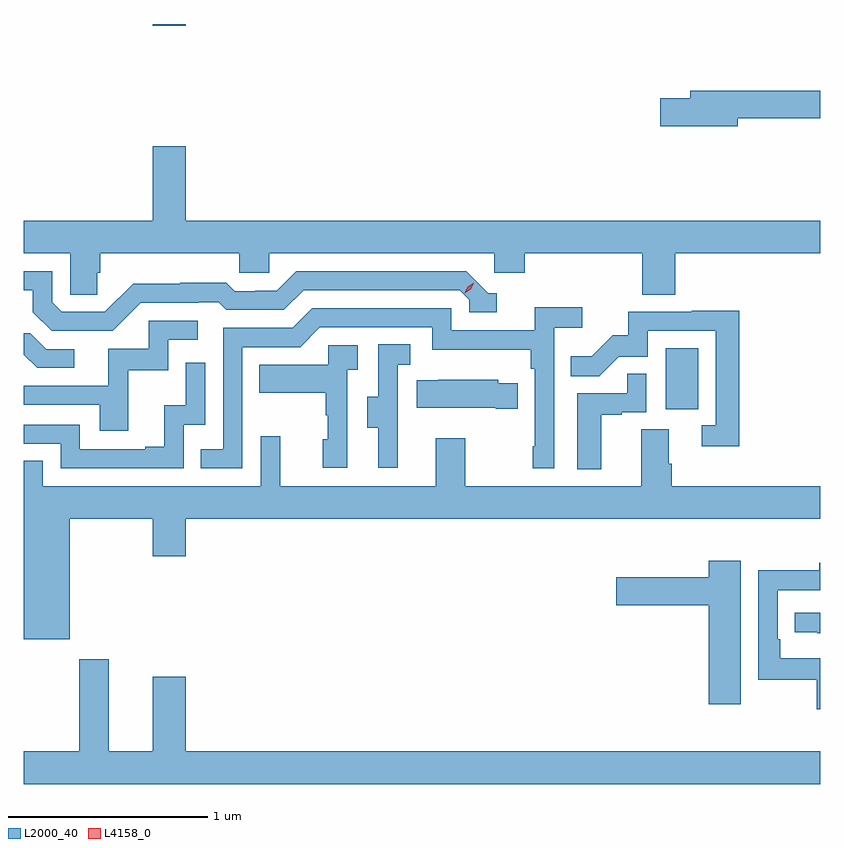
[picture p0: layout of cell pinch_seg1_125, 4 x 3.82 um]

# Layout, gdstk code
import gdstk
lib = gdstk.Library(unit=1e-6, precision=1e-09)
def R(c, l, rs):  # rectangles x0, y0, x1, y1
    for r in rs: c.add(gdstk.rectangle(r[:2], r[2:], *l))
def P(c, l, *ps):  # polygons
    for p in ps: c.add(gdstk.Polygon(p, *l))
L2000_40 = (2000, 40)
L4158_0 = (4158, 0)

pinch_seg1_125 = lib.new_cell('pinch_seg1_125')
R(pinch_seg1_125, L2000_40, [(1030.718,545.622,1030.882,545.929), (1028.144,547.548,1028.308,547.556)])
P(pinch_seg1_125, L2000_40, [(1031.08,547.084),(1031.495,547.084),(1031.495,547.22),(1030.841,547.22),(1030.841,547.184),(1030.692,547.184),(1030.692,547.042),(1031.08,547.042)],
  [(1027.865,546.306),(1027.88,546.306),(1027.88,546.404),(1028.577,546.404),(1028.577,546.306),(1028.727,546.306),(1028.727,546.404),(1029.858,546.404),(1029.858,546.306),(1030.01,546.306),(1030.01,546.404),(1030.601,546.404),(1030.601,546.196),(1030.766,546.196),(1030.766,546.404),(1031.495,546.404),(1031.495,546.568),(1028.308,546.568),(1028.308,546.943),(1028.144,546.943),(1028.144,546.568),(1027.495,546.568),(1027.495,546.404),(1027.728,546.404),(1027.728,546.196),(1027.865,546.196)],
  [(1028.082,546.156),(1028.375,546.156),(1028.375,546.159),(1028.474,546.159),(1028.513,546.12),(1028.802,546.12),(1028.901,546.219),(1029.684,546.219),(1029.732,546.171),(1029.732,546.108),(1029.871,546.108),(1029.871,546.204),(1029.828,546.204),(1029.717,546.315),(1028.864,546.315),(1028.765,546.216),(1028.658,546.216),(1028.658,546.213),(1028.555,546.213),(1028.513,546.256),(1028.28,546.256),(1028.28,546.253),(1028.044,546.253),(1027.902,546.111),(1027.686,546.111),(1027.638,546.159),(1027.638,546.315),(1027.495,546.315),(1027.495,546.219),(1027.541,546.219),(1027.541,546.109),(1027.635,546.015),(1027.941,546.015)],
  [(1028.592,545.934),(1028.883,545.934),(1028.982,546.033),(1029.546,546.033),(1029.546,545.921),(1030.042,545.921),(1030.042,545.825),(1030.062,545.825),(1030.062,545.437),(1030.05,545.437),(1030.05,545.325),(1030.158,545.325),(1030.158,546.032),(1030.3,546.032),(1030.3,546.134),(1030.061,546.134),(1030.061,546.018),(1029.642,546.018),(1029.642,546.129),(1028.945,546.129),(1028.846,546.03),(1028.496,546.03),(1028.496,545.421),(1028.383,545.421),(1028.383,545.325),(1028.592,545.325)],
  [(1031.087,546.116),(1030.849,546.116),(1030.849,546.111),(1030.531,546.111),(1030.531,545.994),(1030.454,545.994),(1030.347,545.887),(1030.243,545.887),(1030.243,545.788),(1030.386,545.788),(1030.484,545.886),(1030.629,545.886),(1030.629,546.015),(1030.971,546.015),(1030.971,545.541),(1030.899,545.541),(1030.899,545.436),(1031.087,545.436)],
  [(1028.021,545.817),(1028.22,545.817),(1028.22,545.97),(1028.368,545.97),(1028.368,546.066),(1028.124,546.066),(1028.124,545.925),(1027.919,545.925),(1027.919,545.739),(1027.495,545.739),(1027.495,545.643),(1027.877,545.643),(1027.877,545.514),(1028.021,545.514)],
  [(1027.75,545.922),(1027.608,545.922),(1027.528,546.002),(1027.495,546.002),(1027.495,545.896),(1027.562,545.829),(1027.75,545.829)],
  [(1029.374,545.541),(1029.372,545.541),(1029.372,545.845),(1029.436,545.845),(1029.436,545.948),(1029.276,545.948),(1029.276,545.685),(1029.221,545.685),(1029.221,545.53),(1029.275,545.53),(1029.275,545.328),(1029.374,545.328)],
  [(1029.12,545.819),(1029.172,545.819),(1029.172,545.943),(1029.024,545.943),(1029.024,545.845),(1028.677,545.845),(1028.677,545.705),(1029.012,545.705),(1029.012,545.591),(1029.022,545.591),(1029.022,545.472),(1028.996,545.472),(1028.996,545.328),(1029.12,545.328)],
  [(1028.298,545.544),(1028.406,545.544),(1028.406,545.854),(1028.31,545.854),(1028.31,545.642),(1028.201,545.642),(1028.201,545.434),(1028.105,545.434),(1028.105,545.421),(1027.776,545.421),(1027.776,545.544),(1027.495,545.544),(1027.495,545.448),(1027.68,545.448),(1027.68,545.325),(1028.298,545.325)],
  [(1030.396,545.595),(1030.499,545.595),(1030.499,545.607),(1030.62,545.607),(1030.62,545.801),(1030.525,545.801),(1030.525,545.703),(1030.274,545.703),(1030.274,545.321),(1030.396,545.321)],
  [(1029.977,545.752),(1029.879,545.752),(1029.879,545.77),(1029.577,545.77),(1029.577,545.767),(1029.469,545.767),(1029.469,545.63),(1029.866,545.63),(1029.866,545.623),(1029.977,545.623)],
  [(1027.726,545.072),(1028.144,545.072),(1028.144,544.884),(1028.308,544.884),(1028.308,545.072),(1031.495,545.072),(1031.495,545.236),(1030.748,545.236),(1030.748,545.348),(1030.735,545.348),(1030.735,545.522),(1030.595,545.522),(1030.595,545.236),(1029.711,545.236),(1029.711,545.476),(1029.563,545.476),(1029.563,545.236),(1028.783,545.236),(1028.783,545.485),(1028.685,545.485),(1028.685,545.236),(1027.59,545.236),(1027.59,545.363),(1027.495,545.363),(1027.495,544.466),(1027.726,544.466)],
  [(1031.095,544.861),(1030.934,544.861),(1030.934,544.779),(1030.47,544.779),(1030.47,544.637),(1030.934,544.637),(1030.934,544.14),(1031.095,544.14)],
  [(1031.495,544.372),(1031.294,544.372),(1031.294,544.468),(1031.28,544.468),(1031.28,544.713),(1031.495,544.713),(1031.495,544.852),(1031.489,544.852),(1031.489,544.814),(1031.184,544.814),(1031.184,544.263),(1031.478,544.263),(1031.478,544.116),(1031.495,544.116)],
  [(1031.495,544.599),(1031.367,544.599),(1031.367,544.503),(1031.479,544.503),(1031.479,544.498),(1031.495,544.498)],
  [(1031.495,543.904),(1028.308,543.904),(1028.308,544.279),(1028.144,544.279),(1028.144,543.904),(1027.921,543.904),(1027.921,544.366),(1027.774,544.366),(1027.774,543.904),(1027.495,543.904),(1027.495,543.74),(1031.495,543.74)])
P(pinch_seg1_125, L4158_0, [(1029.709,546.204),(1029.709,546.204),(1029.725,546.237),(1029.755,546.257),(1029.755,546.257),(1029.755,546.257),(1029.74,546.224),(1029.709,546.204)])

lib.write_gds('pinch_seg1_125.gds')
